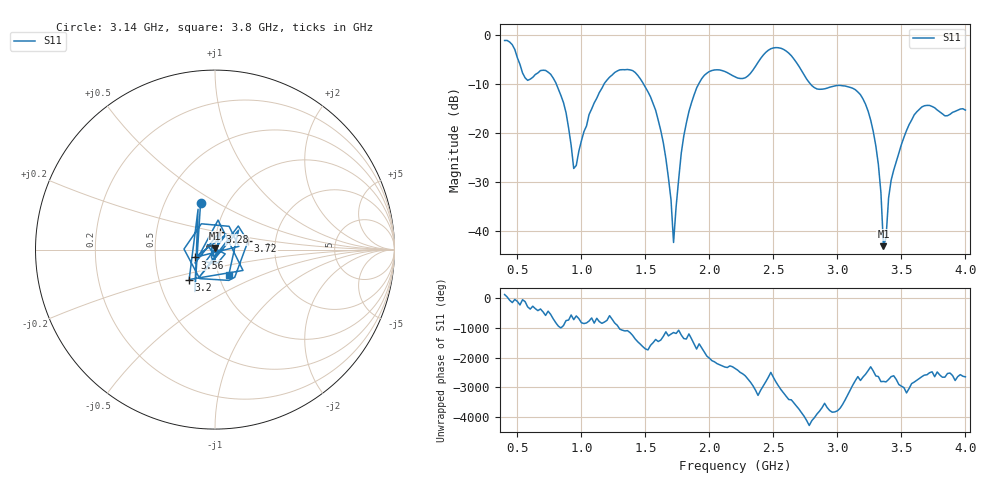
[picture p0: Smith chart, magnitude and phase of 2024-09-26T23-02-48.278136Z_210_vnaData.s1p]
!Created with skrf (http://scikit-rf.org).
# Hz S RI R 50.0
!freq ReS11 ImS11
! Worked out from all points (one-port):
!   181 points, 400 MHz to 4 GHz, reference 50 ohm
!   lowest |S11| = -43.2 dB at 3.36 GHz (marker M1), VSWR 1.01, Z = 50.1 + j0.687 ohm
!   |S11| at or under -10 dB: 802.5 MHz to 1.179 GHz (376.4 MHz wide, 38 % of centre); 1.483 GHz to 1.918 GHz (434.7 MHz wide, 25.6 % of centre); 2.787 GHz to end of sweep
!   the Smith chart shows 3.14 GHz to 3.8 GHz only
!   S11 on the Smith chart (normalised r, x): 3.14 GHz: 0.75, +0.42; 3.2 GHz: 0.71, -0.25; 3.28 GHz: 1.03, +0.21; 3.56 GHz: 0.80, -0.07; 3.72 GHz: 1.44, +0.14; 3.8 GHz: 1.11, -0.33
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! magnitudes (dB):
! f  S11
! 400 MHz  -1.2
! 560 MHz  -8.8
! 720 MHz  -7.3
! 860 MHz  -13.9
! 940 MHz  -27.3
! 1.1 GHz  -13.9
! 1.3 GHz  -7.2
! 1.58 GHz  -15.4
! 1.66 GHz  -25.3
! 1.72 GHz  -42.4
! 1.76 GHz  -29.5
! 1.82 GHz  -18.0
! 1.92 GHz  -9.9
! 2.2 GHz  -8.6
! 2.5 GHz  -2.7
! 2.66 GHz  -5.0
! 2.84 GHz  -11.1
! 3.1 GHz  -10.8
! 3.14 GHz  -11.2
! 3.2 GHz  -13.1
! 3.28 GHz  -19.8
! 3.34 GHz  -32.2
! 3.36 GHz  -43.2
! 3.42 GHz  -29.7
! 3.56 GHz  -18.4
! 3.72 GHz  -14.5
! 3.8 GHz  -15.8
! 4 GHz  -15.4
